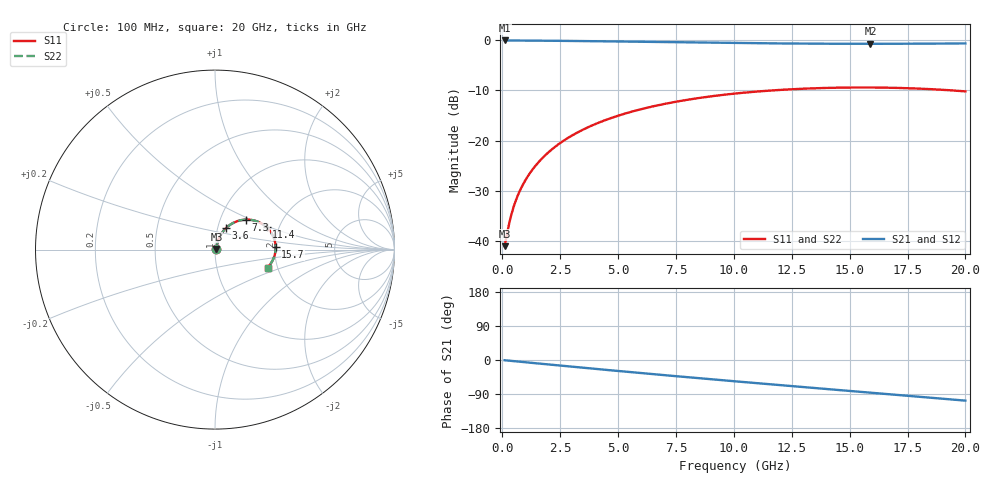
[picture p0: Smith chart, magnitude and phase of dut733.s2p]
! Touchstone file exported from HFSS 2026.1.0
!  File:  C:/ffzhzh/LocalFiles/Ansys_Project_Files/temp_train_TSV_RDL_733_1783203441_43440.aedt
!  Generated:  06:27:49 AM Jul  5, 2026
!  Design:  TSV_RDL
!  Project:  temp_train_TSV_RDL_733_1783203441_43440
! Variables:
!  h_bsmrdl = 4.38um
!  h_ox = 20um
!  h_rdl = 5um
!  h_sub = 83.22um
!  h_tmrdl = 3.62um
!  h_tsv = 83.22um
!  h_via = 3um
!  l_bsmrdl = 195.47um
!  l_sub = 1568.73um
!  l_tmrdl = 122.12um
!  m_sub = 200um
!  pitch = 39.07um
!  r_tsv = 10.62um
!  s_tmrdl = 10um
!  w_bsmrdl = 12.82um
!  w_sub = 500um
!  w_tmrdl = 18.46um
!  x_tsv_center1 = 131.35um
!  x_tsv_center2 = 339.64um
!  x_tsv_center3 = 480.22um
!  x_tsv_center4 = 688.51um
!  x_tsv_center5 = 829.09um
!  x_tsv_center6 = 1037.38um
# GHz S MA R 50.000000
! Terminal data exported
! Port[1] = TM_RDL1_1_T1
! Port[2] = TM_RDL5_1_T1
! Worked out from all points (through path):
!   200 points, 100 MHz to 20 GHz, reference 50 ohm
!   highest |S21| = -0.07 dB at 100 MHz (marker M1); lowest = -0.7 dB at 15.9 GHz (marker M2)
!   group delay of S21, straight-line fit = 14.7 ps
!   lowest |S11| = -41.0 dB at 100 MHz (marker M3), VSWR 1.02, Z = 50.8 + j0.427 ohm
!   |S11| at or under -10 dB: start of sweep to 11.67 GHz; 19.42 GHz to end of sweep
!   |S22| runs from -41.0 to -9.4 dB; largest |S21 - S12| = 1.4e-14
!   S11 on the Smith chart (normalised r, x): 100 MHz: 1.02, +0.01; 3.6 GHz: 1.09, +0.26; 7.3 GHz: 1.32, +0.47; 11.4 GHz: 1.72, +0.48; 15.7 GHz: 2.02, +0.06; 20 GHz: 1.77, -0.39
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0.1  0.008935 28.1  0.9922 -0.6  0.9922 -0.6  0.008935 28.1
! Gamma 0 0 0 0
! Port Impedance 50 0 50 0
0.3  0.01512 54.6  0.9916 -1.8  0.9916 -1.8  0.01512 54.6
0.5  0.02236 63.3  0.9908 -3.0  0.9908 -3.0  0.02236 63.3
0.6  0.02601 65.5  0.9904 -3.6  0.9904 -3.6  0.02601 65.5
0.8  0.03328 68.2  0.9898 -4.8  0.9898 -4.8  0.03328 68.2
1.2  0.04783 70.3  0.9886 -7.1  0.9886 -7.1  0.04783 70.3
1.7  0.06602 70.4  0.9869 -10.1  0.9869 -10.1  0.06602 70.4
2.2  0.08405 69.1  0.9849 -13.0  0.9849 -13.0  0.08405 69.1
2.8  0.1053 66.9  0.9822 -16.4  0.9822 -16.4  0.1053 66.9
3.5  0.1293 63.7  0.9784 -20.5  0.9784 -20.5  0.1293 63.7
3.6  0.1326 63.2  0.9778 -21.0  0.9778 -21.0  0.1326 63.2
5  0.1771 56.2  0.969 -29.0  0.969 -29.0  0.1771 56.2
6.8  0.2269 46.9  0.9565 -38.9  0.9565 -38.9  0.2269 46.9
7.3  0.2392 44.3  0.9531 -41.6  0.9531 -41.6  0.2392 44.3
10.1  0.2949 30.0  0.9355 -56.5  0.9355 -56.5  0.2949 30.0
11.4  0.3131 23.5  0.9291 -63.2  0.9291 -63.2  0.3131 23.5
13.4  0.3314 13.6  0.9221 -73.5  0.9221 -73.5  0.3314 13.6
15.7  0.3381 2.4  0.919 -85.2  0.919 -85.2  0.3381 2.4
15.9  0.338 1.4  0.919 -86.2  0.919 -86.2  0.338 1.4
16.7  0.3362 -2.5  0.9194 -90.3  0.9194 -90.3  0.3362 -2.5
18.4  0.3263 -10.9  0.9222 -98.9  0.9222 -98.9  0.3263 -10.9
20  0.3091 -18.9  0.9272 -107.2  0.9272 -107.2  0.3091 -18.9
